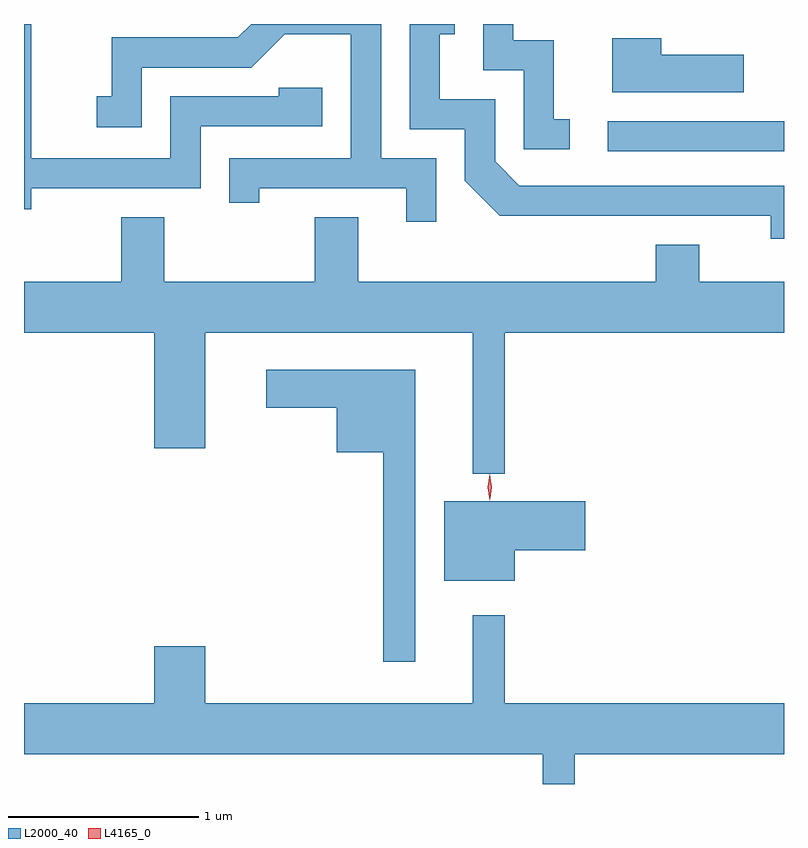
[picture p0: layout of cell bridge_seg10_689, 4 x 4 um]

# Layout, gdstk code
import gdstk
lib = gdstk.Library(unit=1e-6, precision=1e-09)
def R(c, l, rs):  # rectangles x0, y0, x1, y1
    for r in rs: c.add(gdstk.rectangle(r[:2], r[2:], *l))
def P(c, l, *ps):  # polygons
    for p in ps: c.add(gdstk.Polygon(p, *l))
L2000_40 = (2000, 40)
L4165_0 = (4165, 0)

bridge_seg10_689 = lib.new_cell('bridge_seg10_689')
R(bridge_seg10_689, L2000_40, [(1056.623,2092.671,1057.55,2092.829)])
P(bridge_seg10_689, L2000_40, [(1056.423,2092.839),(1056.339,2092.839),(1056.339,2093.254),(1056.124,2093.254),(1056.124,2093.34),(1055.966,2093.34),(1055.966,2093.096),(1056.181,2093.096),(1056.181,2092.681),(1056.423,2092.681)],
  [(1057.55,2092.489),(1056.157,2092.489),(1056.029,2092.617),(1056.029,2092.944),(1055.739,2092.944),(1055.739,2093.286),(1055.818,2093.286),(1055.818,2093.34),(1055.581,2093.34),(1055.581,2092.786),(1055.871,2092.786),(1055.871,2092.514),(1056.054,2092.331),(1057.481,2092.331),(1057.481,2092.211),(1057.55,2092.211)],
  [(1055.719,2092.634),(1055.429,2092.634),(1055.429,2093.34),(1054.745,2093.34),(1054.674,2093.269),(1054.011,2093.269),(1054.011,2092.959),(1053.933,2092.959),(1053.933,2092.796),(1054.169,2092.796),(1054.169,2093.111),(1054.747,2093.111),(1054.922,2093.286),(1055.271,2093.286),(1055.271,2092.634),(1054.631,2092.634),(1054.631,2092.398),(1054.789,2092.398),(1054.789,2092.476),(1055.561,2092.476),(1055.561,2092.298),(1055.719,2092.298)],
  [(1053.589,2092.476),(1054.479,2092.476),(1054.479,2092.801),(1055.119,2092.801),(1055.119,2093.004),(1054.891,2093.004),(1054.891,2092.959),(1054.321,2092.959),(1054.321,2092.634),(1053.589,2092.634),(1053.589,2093.34),(1053.55,2093.34),(1053.55,2092.366),(1053.589,2092.366)],
  [(1057.339,2093.179),(1056.904,2093.179),(1056.904,2093.264),(1056.646,2093.264),(1056.646,2092.981),(1057.339,2092.981)],
  [(1056.079,2091.716),(1057.55,2091.716),(1057.55,2091.984),(1057.104,2091.984),(1057.104,2092.179),(1056.876,2092.179),(1056.876,2091.984),(1055.309,2091.984),(1055.309,2092.324),(1055.081,2092.324),(1055.081,2091.984),(1054.289,2091.984),(1054.289,2092.324),(1054.061,2092.324),(1054.061,2091.984),(1053.55,2091.984),(1053.55,2091.716),(1054.236,2091.716),(1054.236,2091.106),(1054.504,2091.106),(1054.504,2091.716),(1055.911,2091.716),(1055.911,2090.972),(1056.079,2090.972)],
  [(1055.609,2091.519),(1054.826,2091.519),(1054.826,2091.321),(1055.196,2091.321),(1055.196,2091.086),(1055.441,2091.086),(1055.441,2089.983),(1055.609,2089.983)],
  [(1056.134,2090.571),(1056.504,2090.571),(1056.504,2090.829),(1055.761,2090.829),(1055.761,2090.411),(1056.134,2090.411)],
  [(1056.449,2089.496),(1057.55,2089.496),(1057.55,2089.764),(1056.079,2089.764),(1056.079,2090.228),(1055.911,2090.228),(1055.911,2089.764),(1054.504,2089.764),(1054.504,2090.064),(1054.236,2090.064),(1054.236,2089.764),(1053.55,2089.764),(1053.55,2089.496),(1056.281,2089.496),(1056.281,2089.34),(1056.449,2089.34)])
P(bridge_seg10_689, L4165_0, [(1056.001,2090.834),(1055.991,2090.902),(1056,2090.97),(1056.001,2090.97),(1056.001,2090.97),(1056.011,2090.902),(1056.002,2090.834),(1056.002,2090.834)],
  [(1056.002,2090.84),(1056.002,2090.841),(1055.992,2090.903),(1056,2090.966),(1056.001,2090.967),(1056.001,2090.966),(1056.012,2090.904),(1056.003,2090.841)])

lib.write_gds('bridge_seg10_689.gds')
